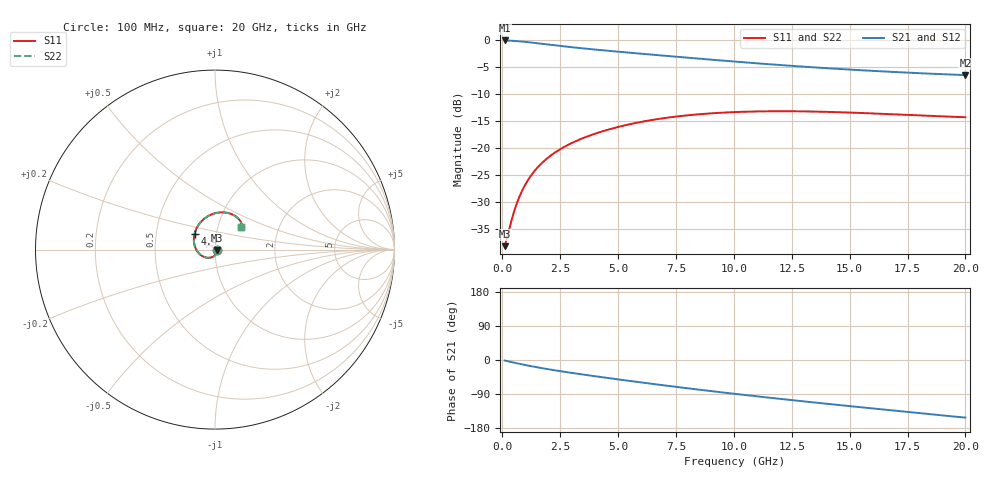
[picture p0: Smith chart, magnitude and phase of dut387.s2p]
! Touchstone file exported from HFSS 2024.1.0
!  File:  C:/UserFiles/LocalFiles/RDL_TSV_Batchsim/temp_RDL_TSV_387_1779646625.aedt
!  Generated:  02:29:36 AM May 25, 2026
!  Design:  RDL_TSV
!  Project:  temp_RDL_TSV_387_1779646625
!  Setup:  Setup1
!  Solution:  Sweep
! Variables:
!  dtsv = 13.44um
!  hbump = 3um
!  htsv = 61.69um
!  ldown = 287.85um
!  lrdl = 319.92um
!  p = 40
!  p1 = 41.14um
!  rhole = 10um
!  subl = 2143.23um
!  t = 450um
!  tdown = 2.79um
!  trdl = 2.63um
!  viad = 10um
!  wdown = 22.88um
!  wrdl = 28.87um
!  xbump = 18um
# GHz S MA R 50.000000
! Terminal data exported
! Port[1] = TM1_1_T1
! Port[2] = TM1_4_T1
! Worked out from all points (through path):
!   200 points, 100 MHz to 20 GHz, reference 50 ohm
!   highest |S21| = -0.11 dB at 100 MHz (marker M1); lowest = -6.5 dB at 20 GHz (marker M2)
!   group delay of S21, straight-line fit = 20.1 ps
!   lowest |S11| = -38.2 dB at 100 MHz (marker M3), VSWR 1.02, Z = 51.2 - j0.475 ohm
!   |S11| at or under -10 dB: start of sweep to end of sweep
!   |S22| runs from -38.2 to -13.2 dB; largest |S21 - S12| = 1.1e-14
!   S11 on the Smith chart (normalised r, x): 100 MHz: 1.02, -0.01; 4.4 GHz: 0.78, +0.14; 20 GHz: 1.30, +0.33
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0.1  0.0123 -22.2  0.9879 -1.4  0.9879 -1.4  0.0123 -22.2
! Gamma 0 0 0 0
! Port Impedance 50 0 50 0
0.2  0.01452 -41.0  0.9863 -2.9  0.9863 -2.9  0.01453 -41.0
0.4  0.02138 -68.1  0.9813 -5.6  0.9813 -5.6  0.02138 -68.1
0.5  0.02536 -78.1  0.9782 -6.9  0.9782 -6.9  0.02537 -78.1
0.7  0.03363 -94.1  0.971 -9.5  0.971 -9.5  0.03364 -94.0
1  0.04596 -112.6  0.9579 -13.3  0.9579 -13.3  0.04596 -112.5
1.3  0.05767 -127.7  0.9429 -16.9  0.9429 -16.9  0.05767 -127.6
1.7  0.0721 -144.7  0.9214 -21.3  0.9214 -21.3  0.07209 -144.7
2.2  0.0883 -162.8  0.8947 -26.5  0.8947 -26.5  0.08827 -162.7
2.8  0.1056 179.0  0.8648 -32.2  0.8648 -32.2  0.1055 179.0
3.5  0.1235 161.2  0.8339 -38.5  0.8339 -38.5  0.1234 161.2
4.4  0.1439 142.3  0.7989 -46.2  0.7989 -46.2  0.1438 142.3
5.6  0.1673 122.0  0.7574 -56.0  0.7574 -56.0  0.167 122.1
6.8  0.1861 105.8  0.7195 -65.5  0.7195 -65.5  0.1857 105.8
8.4  0.204 88.4  0.6728 -77.6  0.6728 -77.6  0.2036 88.5
10.1  0.2148 74.0  0.6282 -89.8  0.6282 -89.8  0.2143 74.1
11.7  0.2184 63.4  0.5913 -100.6  0.5913 -100.6  0.2179 63.4
13.4  0.2171 54.5  0.5577 -111.7  0.5577 -111.7  0.2165 54.6
15  0.2124 48.3  0.5309 -121.7  0.5309 -121.7  0.2119 48.3
16.7  0.2054 43.7  0.5071 -132.2  0.5071 -132.2  0.2049 43.7
18.3  0.1985 41.0  0.4885 -141.9  0.4885 -141.9  0.198 41.0
20  0.1923 39.9  0.4719 -152.1  0.4719 -152.1  0.1919 39.9
